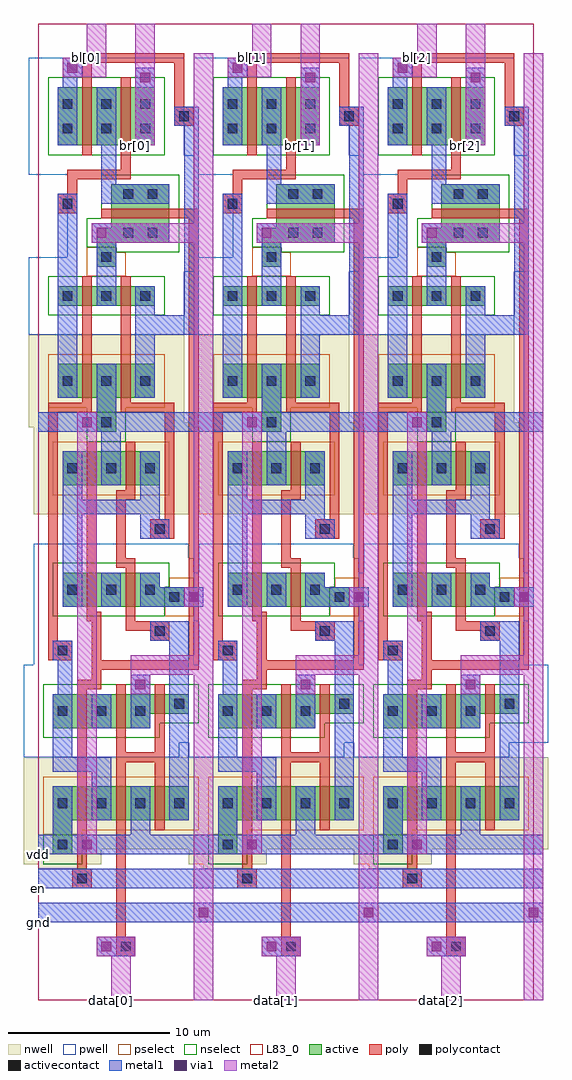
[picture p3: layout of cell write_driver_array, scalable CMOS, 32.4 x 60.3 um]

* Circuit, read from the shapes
.subckt write_driver_array bl[0] bl[1] bl[2] br[0] br[1] br[2] data[0] data[1] data[2] en gnd vdd
M1 n1 en n2 gnd nfet w=2.1u l=0.6u
M2 gnd n2 n3 gnd nfet w=1.2u l=0.6u
M3 n4 n5 bl[0] gnd nfet w=3.6u l=0.6u
M4 n6 en n7 gnd nfet w=2.1u l=0.6u
M5 n4 en gnd gnd nfet w=3.6u l=0.6u
M6 gnd data[0] n1 gnd nfet w=2.1u l=0.6u
M7 n5 n7 gnd gnd nfet w=1.2u l=0.6u
M8 br[0] n3 n4 gnd nfet w=3.6u l=0.6u
M9 gnd n8 n6 gnd nfet w=2.1u l=0.6u
M10 n8 data[0] gnd gnd nfet w=1.2u l=0.6u
M11 n9 en n10 gnd nfet w=2.1u l=0.6u
M12 gnd n10 n11 gnd nfet w=1.2u l=0.6u
M13 n12 n13 bl[1] gnd nfet w=3.6u l=0.6u
M14 n14 en n15 gnd nfet w=2.1u l=0.6u
M15 n12 en gnd gnd nfet w=3.6u l=0.6u
M16 gnd data[1] n9 gnd nfet w=2.1u l=0.6u
M17 n13 n15 gnd gnd nfet w=1.2u l=0.6u
M18 br[1] n11 n12 gnd nfet w=3.6u l=0.6u
M19 gnd n16 n14 gnd nfet w=2.1u l=0.6u
M20 n16 data[1] gnd gnd nfet w=1.2u l=0.6u
M21 n17 en n18 gnd nfet w=2.1u l=0.6u
M22 gnd n18 n19 gnd nfet w=1.2u l=0.6u
M23 n20 n21 bl[2] gnd nfet w=3.6u l=0.6u
M24 n22 en n23 gnd nfet w=2.1u l=0.6u
M25 n20 en gnd gnd nfet w=3.6u l=0.6u
M26 gnd data[2] n17 gnd nfet w=2.1u l=0.6u
M27 n21 n23 gnd gnd nfet w=1.2u l=0.6u
M28 br[2] n19 n20 gnd nfet w=3.6u l=0.6u
M29 gnd n24 n22 gnd nfet w=2.1u l=0.6u
M30 n24 data[2] gnd gnd nfet w=1.2u l=0.6u
M31 n2 en vdd vdd pfet w=2.1u l=0.6u
M32 vdd n2 n3 vdd pfet w=2.1u l=0.6u
M33 vdd en n7 vdd pfet w=2.1u l=0.6u
M34 vdd data[0] n2 vdd pfet w=2.1u l=0.6u
M35 n5 n7 vdd vdd pfet w=2.1u l=0.6u
M36 n7 n8 vdd vdd pfet w=2.1u l=0.6u
M37 n8 data[0] vdd vdd pfet w=2.1u l=0.6u
M38 n10 en vdd vdd pfet w=2.1u l=0.6u
M39 vdd n10 n11 vdd pfet w=2.1u l=0.6u
M40 vdd en n15 vdd pfet w=2.1u l=0.6u
M41 vdd data[1] n10 vdd pfet w=2.1u l=0.6u
M42 n13 n15 vdd vdd pfet w=2.1u l=0.6u
M43 n15 n16 vdd vdd pfet w=2.1u l=0.6u
M44 n16 data[1] vdd vdd pfet w=2.1u l=0.6u
M45 n18 en vdd vdd pfet w=2.1u l=0.6u
M46 vdd n18 n19 vdd pfet w=2.1u l=0.6u
M47 vdd en n23 vdd pfet w=2.1u l=0.6u
M48 vdd data[2] n18 vdd pfet w=2.1u l=0.6u
M49 n21 n23 vdd vdd pfet w=2.1u l=0.6u
M50 n23 n24 vdd vdd pfet w=2.1u l=0.6u
M51 n24 data[2] vdd vdd pfet w=2.1u l=0.6u
.ends

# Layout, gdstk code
import gdstk
lib = gdstk.Library(unit=1e-6, precision=1e-09)
def R(c, l, rs):  # rectangles x0, y0, x1, y1
    for r in rs: c.add(gdstk.rectangle(r[:2], r[2:], *l))
def A(c, l, x, y, w, h, nx, ny, dx, dy):  # array of equal rectangles
    R(c, l, [(x+i*dx, y+j*dy, x+i*dx+w, y+j*dy+h) for i in range(nx) for j in range(ny)])
pwell = (41, 0)
nwell = (42, 0)
active = (43, 0)
pselect = (44, 0)
nselect = (45, 0)
poly = (46, 0)
polycontact = (47, 0)
activecontact = (48, 0)
metal1 = (49, 0)
via1 = (50, 0)
metal2 = (51, 0)
L83_0 = (83, 0)

write_driver = lib.new_cell('write_driver')
R(write_driver, pwell, [(-0.9,15,8.7,15.9), (-0.9,15.9,11.1,20.7), (-0.3,20.7,9.6,23.4), (-0.3,23.4,9.9,26.4), (-0.3,26.4,9.6,27.3), (-0.3,27.3,9.3,28.2), (-0.6,41.1,9,45), (-0.6,45,9.9,45.9), (1.8,45.9,9.9,51), (-0.6,51,9.9,52.2), (-0.6,52.2,9,58.2)])
R(write_driver, nwell, [(0,8.1,3,8.4), (-0.9,8.4,3.9,9.3), (-0.9,9.3,11.1,15), (-0.3,30,9.3,35.4), (-0.6,35.4,9.3,35.7), (-0.6,35.7,9,41.1)])
R(write_driver, active, [(0.9,9,2.1,11.1), (0.9,11.1,9.3,13.2), (0.9,16.8,6.9,17.7), (0.9,17.7,9.3,18.9), (1.5,24.3,9,25.5), (1.5,25.5,7.5,26.4), (1.5,31.8,7.5,33.9), (3.6,35.1,4.8,37.2), (1.2,37.2,7.2,39.3), (1.2,42.9,7.2,44.1), (3.6,45.3,4.8,46.8), (3.6,46.8,8.1,47.7), (4.5,47.7,8.1,50.4), (1.2,52.8,7.2,56.4)])
R(write_driver, pselect, [(0.3,10.2,2.7,10.5), (0.3,10.5,9.9,13.8), (7.8,23.7,9.6,25.5), (8.1,25.5,9.6,26.1), (0.9,31.2,8.1,34.5), (3,36.3,5.4,36.6), (0.6,36.6,7.8,39.9), (3,44.7,5.4,46.2), (3,46.2,4.8,46.5)])
R(write_driver, nselect, [(0.3,8.4,2.7,10.2), (0.3,16.2,7.5,17.1), (0.3,17.1,9.9,19.5), (0.9,23.7,7.8,25.5), (0.9,25.5,8.1,27), (3,34.5,5.4,36.3), (0.6,42.3,7.8,44.7), (4.8,46.2,8.7,46.5), (3,46.5,8.7,48.3), (3.9,48.3,8.7,51), (0.6,52.2,7.8,57)])
R(write_driver, poly, [(4.8,2.7,6,3.9), (4.8,3.9,5.4,14.7), (2.1,6.9,3.3,8.1), (2.4,8.1,3,19.2), (7.2,10.5,7.8,14.7), (4.8,14.7,7.8,15.3), (4.8,15.3,5.4,19.5), (7.2,15.3,7.8,19.5), (2.4,19.2,3.9,19.8), (3.3,19.8,3.9,20.4), (3.3,20.4,9.9,21), (0.6,21,2.1,22.2), (3.3,21,3.9,23.4), (9.3,21,9.9,48.3), (0.6,22.2,1.2,36.3), (6.9,22.2,8.1,22.8), (5.4,22.8,8.1,23.4), (3,23.4,3.9,24), (5.4,23.4,6,26.7), (3,24,3.6,34.5), (4.8,26.7,6,27.3), (4.8,27.3,5.4,30.9), (6.9,28.5,8.4,29.7), (7.8,29.7,8.4,36.3), (4.8,30.9,6,31.5), (5.4,31.5,6,34.5), (0.6,36.3,3.3,36.9), (5.1,36.3,8.4,36.9), (2.7,36.9,3.3,44.7), (5.1,36.9,5.7,44.7), (3.9,48.3,9.9,48.9), (1.2,48.6,2.4,49.8), (1.8,49.8,2.4,50.7), (1.8,50.7,5.7,51.3), (5.1,51.3,5.7,57), (2.7,52.2,3.3,57.9), (8.4,54,9.6,55.2), (8.4,55.2,9,57.9), (2.7,57.9,9,58.5)])
R(write_driver, polycontact, [(5.1,3,5.7,3.6), (2.4,7.2,3,7.8), (1.2,21.3,1.8,21.9), (7.2,22.5,7.8,23.1), (7.2,28.8,7.8,29.4), (1.5,48.9,2.1,49.5), (8.7,54.3,9.3,54.9)])
A(write_driver, activecontact, 1.2, 11.85, 0.6, 0.6, 4, 1, 2.4, 0)
A(write_driver, activecontact, 1.2, 17.55, 0.6, 0.6, 3, 1, 2.4, 0)
A(write_driver, activecontact, 1.8, 25.05, 0.6, 0.6, 3, 2, 2.4, 7.5)
A(write_driver, activecontact, 1.5, 37.95, 0.6, 0.6, 3, 2, 2.4, 5.25)
A(write_driver, activecontact, 1.5, 53.55, 0.6, 0.6, 3, 2, 2.4, 1.5)
R(write_driver, activecontact, [(1.2,9.3,1.8,9.9), (8.4,18,9,18.6), (8.1,24.6,8.7,25.2), (3.9,35.4,4.5,36), (3.9,45.6,4.5,46.2), (5.25,47.1,5.85,47.7), (6.75,47.1,7.35,47.7), (5.25,49.5,5.85,50.1), (6.75,49.5,7.35,50.1)])
R(write_driver, metal1, [(3.6,2.7,6,3.9), (0,4.8,10.8,6), (0,4.8,10.8,6), (0,6.9,10.8,8.1), (0,6.9,10.8,8.1), (0,9,10.8,10.2), (0,9,10.8,10.2), (0.9,10.2,2.1,13.2), (5.7,10.2,6.9,13.2), (3.3,11.1,4.5,14.1), (8.1,11.1,9.3,22.2), (0.9,14.1,4.5,15), (0.9,15,2.1,18.9), (3.3,16.8,4.5,18.9), (5.7,16.8,6.9,20.1), (1.2,18.9,2.1,21), (0.9,21,2.1,22.2), (6.9,22.2,9.3,23.4), (1.5,24.3,2.7,30), (3.9,24.3,5.1,26.4), (6.3,24.3,10.2,25.5), (6.3,25.5,7.5,26.4), (6.3,28.5,8.1,29.7), (6.3,29.7,7.5,30), (1.5,30,7.5,30.9), (1.5,30.9,2.7,33.9), (6.3,30.9,7.5,33.9), (3.9,31.8,5.1,35.1), (0,35.1,10.8,36.3), (3.6,36.3,4.8,39.3), (1.2,37.2,2.4,49.8), (6,37.2,7.2,41.1), (6,41.1,9.9,42.3), (6,42.3,7.2,44.1), (9,42.3,9.9,54), (3.6,42.9,4.8,46.8), (3.3,46.8,8.1,48), (3.9,49.2,8.1,50.4), (3.9,50.4,4.8,52.8), (1.2,52.8,2.4,56.4), (3.6,52.8,4.8,56.4), (6,52.8,7.2,57.6), (8.4,54,9.9,55.2), (1.5,56.4,2.4,57), (1.5,57,2.7,58.2)])
R(write_driver, via1, [(3.9,3,4.5,3.6), (9.9,5.1,10.5,5.7), (2.7,9.3,3.3,9.9), (6,19.2,6.6,19.8), (9.3,24.6,9.9,25.2), (2.7,35.4,3.3,36), (3.6,47.1,4.2,47.7), (6.3,56.7,6.9,57.3), (1.8,57.3,2.4,57.9)])
R(write_driver, metal2, [(4.5,0,5.7,2.7), (4.5,0,5.7,2.7), (9.6,0,10.8,20.1), (3.6,2.7,6,3.9), (2.4,9,3.6,36.3), (5.7,18.9,6.9,20.1), (5.7,20.1,10.8,21.3), (9.6,21.3,10.8,24.3), (9,24.3,10.8,25.5), (9.6,25.5,10.8,46.8), (3.3,46.8,10.8,48), (9.6,48,10.8,58.5), (6,52.8,7.2,60.3), (6,52.8,7.2,60.3), (1.5,57,4.2,58.2), (3,58.2,4.2,60.3), (3,58.2,4.2,60.3)])
R(write_driver, L83_0, [(0,0,10.2,60.3)])
write_driver.add(gdstk.Label('BR', (6,60.3), layer=51, texttype=0))
write_driver.add(gdstk.Label('BL', (3,60.3), layer=51, texttype=0))
write_driver.add(gdstk.Label('vdd', (0,9), layer=49, texttype=0))
write_driver.add(gdstk.Label('en', (0,6.9), layer=49, texttype=0))
write_driver.add(gdstk.Label('gnd', (0,4.8), layer=49, texttype=0))
write_driver.add(gdstk.Label('din', (4.5,0), layer=51, texttype=0))
write_driver.add(gdstk.Label('din', (4.5,0), layer=51, texttype=0))
write_driver.add(gdstk.Label('en', (0,6.9), layer=49, texttype=0))
write_driver.add(gdstk.Label('BR', (6,52.8), layer=51, texttype=0))
write_driver.add(gdstk.Label('BL', (3,58.2), layer=51, texttype=0))
write_driver.add(gdstk.Label('vdd', (0,9), layer=49, texttype=0))
write_driver.add(gdstk.Label('gnd', (0,4.8), layer=49, texttype=0))

write_driver_array = lib.new_cell('write_driver_array')
A(write_driver_array, metal1, 0, 4.8, 30.6, 0.9, 1, 3, 0, 2.1)
A(write_driver_array, metal2, 4.5, 0, 1.2, 2.7, 3, 1, 10.2, 0)
A(write_driver_array, metal2, 6, 52.8, 1.2, 7.5, 3, 1, 10.2, 0)
A(write_driver_array, metal2, 3, 58.2, 1.2, 2.1, 3, 1, 10.2, 0)
write_driver_array.add(gdstk.Reference(write_driver, (0,0)))
write_driver_array.add(gdstk.Reference(write_driver, (10.2,0)))
write_driver_array.add(gdstk.Reference(write_driver, (20.4,0)))
write_driver_array.add(gdstk.Label('data[0]', (4.5,0), layer=51, texttype=0))
write_driver_array.add(gdstk.Label('data[1]', (14.7,0), layer=51, texttype=0))
write_driver_array.add(gdstk.Label('en', (0,6.9), layer=49, texttype=0))
write_driver_array.add(gdstk.Label('bl[0]', (3,58.2), layer=51, texttype=0))
write_driver_array.add(gdstk.Label('bl[1]', (13.2,58.2), layer=51, texttype=0))
write_driver_array.add(gdstk.Label('bl[2]', (23.4,58.2), layer=51, texttype=0))
write_driver_array.add(gdstk.Label('br[2]', (26.4,52.8), layer=51, texttype=0))
write_driver_array.add(gdstk.Label('br[1]', (16.2,52.8), layer=51, texttype=0))
write_driver_array.add(gdstk.Label('vdd', (0,9), layer=49, texttype=0))
write_driver_array.add(gdstk.Label('gnd', (0,4.8), layer=49, texttype=0))
write_driver_array.add(gdstk.Label('br[0]', (6,52.8), layer=51, texttype=0))
write_driver_array.add(gdstk.Label('data[2]', (24.9,0), layer=51, texttype=0))

lib.write_gds('write_driver_array.gds')
